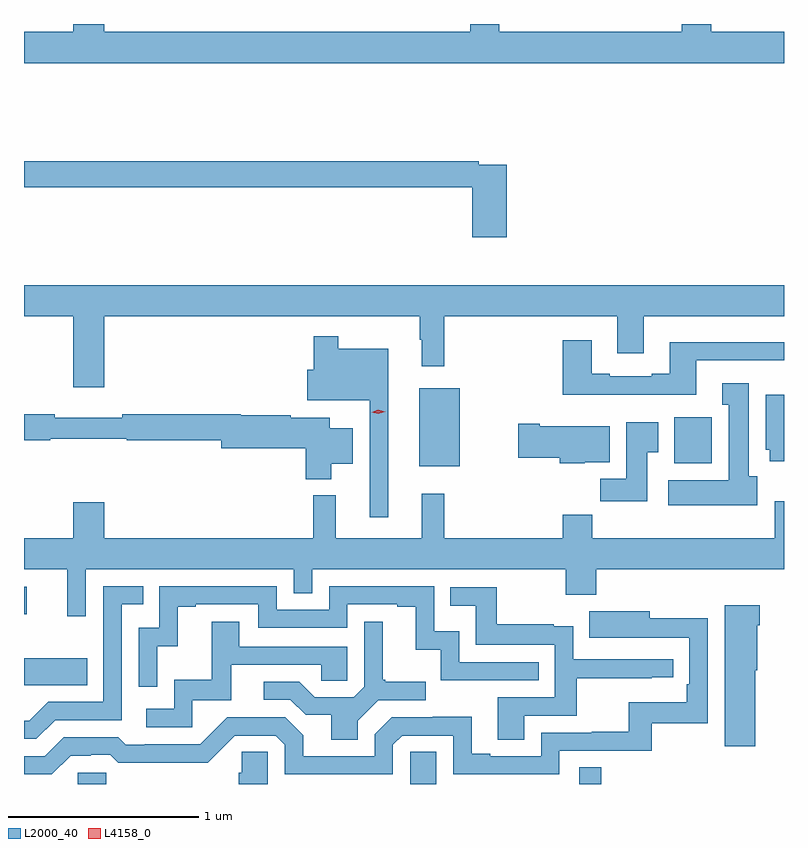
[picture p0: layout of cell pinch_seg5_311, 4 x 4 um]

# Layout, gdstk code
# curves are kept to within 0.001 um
import gdstk
lib = gdstk.Library(unit=1e-6, precision=1e-09)
def R(c, l, rs):  # rectangles x0, y0, x1, y1
    for r in rs: c.add(gdstk.rectangle(r[:2], r[2:], *l))
def P(c, l, *ps):  # polygons
    for p in ps: c.add(gdstk.Polygon(p, *l))
L2000_40 = (2000, 40)
L4158_0 = (4158, 0)

pinch_seg5_311 = lib.new_cell('pinch_seg5_311')
R(pinch_seg5_311, L2000_40, [(896.301,890.262,896.451,890.322), (898.05,890.262,898.189,890.432), (898.941,890.262,899.057,890.351), (896.018,890.783,896.351,890.923), (896.018,891.156,896.032,891.301), (898.097,891.935,898.312,892.345), (899.441,891.95,899.638,892.192)])
P(pinch_seg5_311, L2000_40, [(900.018,894.22),(899.636,894.22),(899.636,894.262),(899.479,894.262),(899.479,894.22),(898.519,894.22),(898.519,894.262),(898.367,894.262),(898.367,894.22),(896.44,894.22),(896.44,894.262),(896.276,894.262),(896.276,894.22),(896.018,894.22),(896.018,894.056),(900.018,894.056)],
  [(898.559,893.52),(898.412,893.52),(898.412,893.54),(896.018,893.54),(896.018,893.404),(898.376,893.404),(898.376,893.139),(898.559,893.139)],
  [(896.44,892.724),(898.101,892.724),(898.101,892.601),(898.112,892.601),(898.112,892.461),(898.229,892.461),(898.229,892.724),(899.141,892.724),(899.141,892.53),(899.281,892.53),(899.281,892.724),(900.018,892.724),(900.018,892.888),(896.018,892.888),(896.018,892.724),(896.276,892.724),(896.276,892.35),(896.44,892.35)],
  [(897.934,892.552),(897.673,892.552),(897.673,892.618),(897.544,892.618),(897.544,892.441),(897.51,892.441),(897.51,892.283),(897.837,892.283),(897.837,891.666),(897.934,891.666)],
  [(899.557,892.491),(900.018,892.491),(900.018,892.588),(899.417,892.588),(899.417,892.42),(899.321,892.42),(899.321,892.407),(899.101,892.407),(899.101,892.42),(899.005,892.42),(899.005,892.597),(898.853,892.597),(898.853,892.31),(899.557,892.31)],
  [(899.878,891.882),(899.833,891.882),(899.833,892.372),(899.693,892.372),(899.693,892.259),(899.726,892.259),(899.726,891.862),(899.409,891.862),(899.409,891.728),(899.878,891.728)],
  [(900.018,892.312),(899.921,892.312),(899.921,892.02),(899.942,892.02),(899.942,891.96),(900.018,891.96)],
  [(897.634,891.947),(897.748,891.947),(897.748,892.135),(897.628,892.135),(897.628,892.189),(897.422,892.189),(897.422,892.202),(897.16,892.202),(897.16,892.208),(896.536,892.208),(896.536,892.189),(896.18,892.189),(896.18,892.208),(896.018,892.208),(896.018,892.072),(896.156,892.072),(896.156,892.08),(896.56,892.08),(896.56,892.072),(897.056,892.072),(897.056,892.03),(897.5,892.03),(897.5,891.866),(897.634,891.866)],
  [(899.299,892.009),(899.356,892.009),(899.356,892.165),(899.189,892.165),(899.189,891.868),(899.05,891.868),(899.05,891.75),(899.299,891.75)],
  [(898.968,891.956),(899.101,891.956),(899.101,892.144),(898.732,892.144),(898.732,892.157),(898.62,892.157),(898.62,891.979),(898.838,891.979),(898.838,891.95),(898.968,891.95)],
  [(896.343,891.392),(897.438,891.392),(897.438,891.265),(897.534,891.265),(897.534,891.392),(898.87,891.392),(898.87,891.257),(899.03,891.257),(899.03,891.392),(900.018,891.392),(900.018,891.751),(899.969,891.751),(899.969,891.556),(899.009,891.556),(899.009,891.68),(898.853,891.68),(898.853,891.556),(898.229,891.556),(898.229,891.79),(898.112,891.79),(898.112,891.556),(897.659,891.556),(897.659,891.781),(897.541,891.781),(897.541,891.556),(896.44,891.556),(896.44,891.745),(896.276,891.745),(896.276,891.556),(896.018,891.556),(896.018,891.392),(896.246,891.392),(896.246,891.144),(896.343,891.144)],
  [(896.182,890.598),(896.532,890.598),(896.532,891.207),(896.645,891.207),(896.645,891.303),(896.436,891.303),(896.436,890.694),(896.145,890.694),(896.046,890.595),(896.018,890.595),(896.018,890.499),(896.083,890.499)],
  [(896.718,890.987),(896.828,890.987),(896.828,891.195),(896.923,891.195),(896.923,891.207),(897.252,891.207),(897.252,891.084),(897.72,891.084),(897.72,891.207),(897.983,891.207),(897.983,891.195),(898.079,891.195),(898.079,890.969),(898.212,890.969),(898.212,890.808),(898.727,890.808),(898.727,890.904),(898.308,890.904),(898.308,891.067),(898.176,891.067),(898.176,891.303),(897.624,891.303),(897.624,891.18),(897.348,891.18),(897.348,891.303),(896.73,891.303),(896.73,891.084),(896.622,891.084),(896.622,890.775),(896.718,890.775)],
  [(898.651,890.622),(898.928,890.622),(898.928,890.818),(899.321,890.818),(899.321,890.823),(899.434,890.823),(899.434,890.919),(898.908,890.919),(898.908,891.091),(898.805,891.091),(898.805,891.103),(898.507,891.103),(898.507,891.297),(898.261,891.297),(898.261,891.2),(898.396,891.2),(898.396,890.994),(898.812,890.994),(898.812,890.718),(898.511,890.718),(898.511,890.494),(898.651,890.494)],
  [(899.866,890.862),(899.878,890.862),(899.878,891.098),(899.891,891.098),(899.891,891.202),(899.705,891.202),(899.705,890.46),(899.866,890.46)],
  [(896.263,890.412),(896.37,890.412),(896.37,890.415),(896.473,890.415),(896.515,890.373),(896.748,890.373),(896.748,890.375),(896.984,890.375),(897.126,890.517),(897.342,890.517),(897.39,890.469),(897.39,890.313),(897.96,890.313),(897.96,890.469),(898.008,890.517),(898.278,890.517),(898.278,890.313),(898.836,890.313),(898.836,890.436),(899.323,890.436),(899.323,890.583),(899.616,890.583),(899.616,891.134),(899.311,891.134),(899.311,891.172),(898.993,891.172),(898.993,891.032),(899.52,891.033),(899.52,890.788),(899.507,890.788),(899.507,890.692),(899.202,890.692),(899.202,890.537),(899.005,890.537),(899.005,890.532),(898.74,890.532),(898.74,890.409),(898.471,890.409),(898.471,890.422),(898.375,890.422),(898.375,890.615),(898.17,890.615),(898.17,890.613),(897.954,890.613),(897.864,890.523),(897.864,890.409),(897.487,890.409),(897.487,890.519),(897.393,890.613),(897.087,890.613),(896.946,890.472),(896.653,890.472),(896.653,890.469),(896.554,890.469),(896.515,890.508),(896.226,890.508),(896.127,890.409),(896.018,890.409),(896.018,890.313),(896.164,890.313)],
  [(896.904,890.703),(897.109,890.703),(897.109,890.889),(897.583,890.889),(897.583,890.805),(897.72,890.805),(897.72,890.985),(897.151,890.985),(897.151,891.115),(897.007,891.115),(897.007,890.812),(896.808,890.812),(896.808,890.658),(896.661,890.658),(896.661,890.562),(896.904,890.562)],
  [(897.775,890.596),(897.882,890.703),(898.132,890.703),(898.132,890.8),(897.919,890.8),(897.919,890.812),(897.907,890.812),(897.907,891.115),(897.81,891.115),(897.81,890.775),(897.753,890.718),(897.547,890.718),(897.466,890.799),(897.279,890.799),(897.279,890.706),(897.42,890.706),(897.5,890.626),(897.635,890.626),(897.635,890.494),(897.775,890.494)],
  [(897.3,890.432),(897.163,890.432),(897.163,890.322),(897.149,890.322),(897.149,890.262),(897.3,890.262)])
P(pinch_seg5_311, L4158_0, [(897.883,892.211),(897.847,892.219),(897.847,892.219),(897.847,892.219),(897.882,892.231),(897.918,892.222),(897.918,892.222),(897.918,892.222)])

lib.write_gds('pinch_seg5_311.gds')
